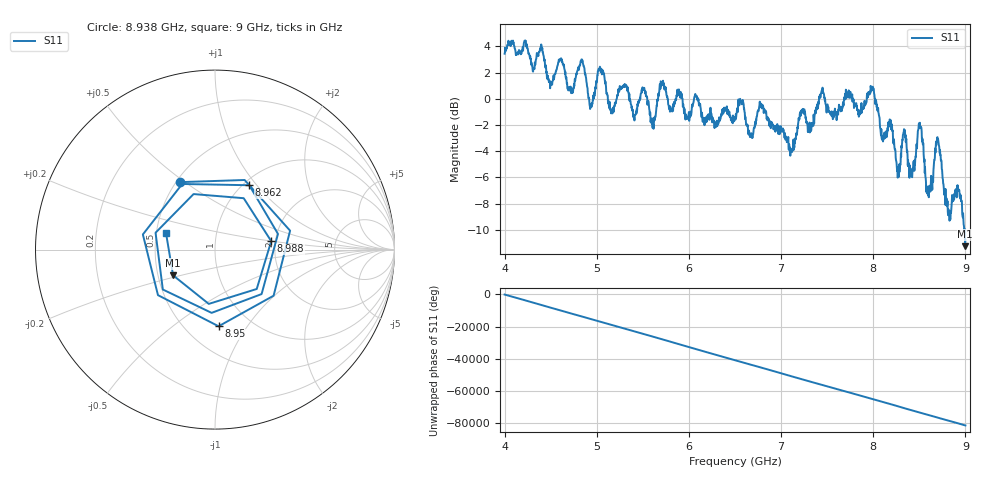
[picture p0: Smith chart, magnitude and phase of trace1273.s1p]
! Created with skrf 1.8.0 (http://scikit-rf.org).
# Hz S RI R 50.0
!freq ReS11 ImS11
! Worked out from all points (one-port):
!   1601 points, 4 GHz to 9 GHz, reference 50 ohm
!   lowest |S11| = -11.2 dB at 8.997 GHz (marker M1), VSWR 1.76, Z = 30 - j9.3 ohm
!   |S11| at or under -10 dB: 8.991668 GHz to end of sweep
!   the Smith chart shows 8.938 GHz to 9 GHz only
!   S11 on the Smith chart (normalised r, x): 8.938 GHz: 0.52, +0.48; 8.95 GHz: 0.71, -0.75; 8.962 GHz: 1.07, +0.92; 8.988 GHz: 1.90, +0.20; 9 GHz: 0.56, +0.12
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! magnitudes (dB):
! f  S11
! 4 GHz  3.4
! 4.625 GHz  2.9
! 4.716 GHz  0.9
! 4.844 GHz  2.9
! 4.934 GHz  -0.5
! 5.038 GHz  2.4
! 5.159 GHz  -0.9
! 5.25 GHz  1.0
! 5.609 GHz  -2.1
! 5.706 GHz  1.2
! 5.875 GHz  0.7
! 6.5 GHz  -1.4
! 7.125 GHz  -3.8
! 7.228 GHz  -1.0
! 7.75 GHz  0.5
! 7.991 GHz  0.9
! 8.269 GHz  -5.2
! 8.375 GHz  -5.1
! 8.509 GHz  -2.2
! 8.597 GHz  -6.8
! 8.697 GHz  -2.9
! 8.812 GHz  -8.9
! 8.938 GHz  -7.5
! 8.95 GHz  -7.4
! 8.962 GHz  -7.8
! 8.988 GHz  -10.0
! 8.997 GHz  -11.2
! 9 GHz  -10.8
